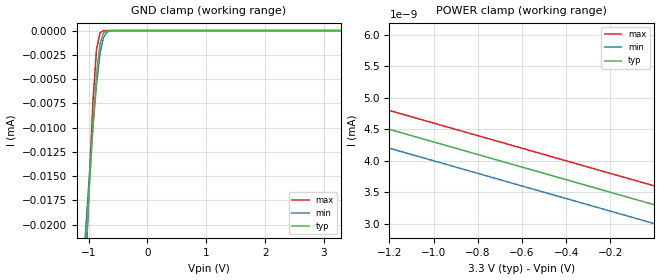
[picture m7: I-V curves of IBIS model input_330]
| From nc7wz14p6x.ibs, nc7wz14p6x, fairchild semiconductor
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[Model] input_330
Model_type Input
Vinh = 1.6V
Vinl = 1.1V
C_comp   0.31pF   0.26pF   0.38pF
[Voltage Range]   3.3V   3.0V   3.6V
[Temperature Range]   25.0   85.0   -40.0
[GND Clamp]
-3.3V     -322.3uA   -254.8uA   -423.3uA
-1.102V   -29.65uA   -25.47uA   -33.28uA
-1.043V   -22.59uA   -19.97uA   -23.86uA
-983.4mV  -15.85uA   -14.71uA   -14.99uA
-924mV    -9.687uA   -9.827uA   -7.229uA
-864.6mV  -4.57uA    -5.572uA   -1.94uA
-805.2mV  -1.351uA   -2.39uA    -223nA
-745.8mV  -238nA     -696.5nA   -17.9nA
-686.4mV  -33.51nA   -150.6nA   -1.375nA
-567.6mV  -606.6pA   -5.501nA   -8.604pA
3.293V    3.293pA    0A         3.293pA
[POWER Clamp]
-3.3V     136.8uA    112.8uA    172.6uA
-1.904V   179.3pA    5.063nA    6.133pA
-1.845V   28.46pA    954.5pA    5.493pA
-1.756V   6.198pA    81.91pA    5.357pA
-1.726V   5.444pA    38.14pA    5.326pA
-1.696V   5.149pA    19.17pA    5.296pA
-1.637V   4.957pA    7.351pA    5.237pA
-1.607V   4.915pA    5.782pA    5.207pA
-1.577V   4.88pA     5.086pA    5.177pA
-1.548V   4.849pA    4.768pA    5.148pA
-1.488V   4.788pA    4.529pA    5.088pA
-3.3mV    3.303pA    3.004pA    3.603pA
